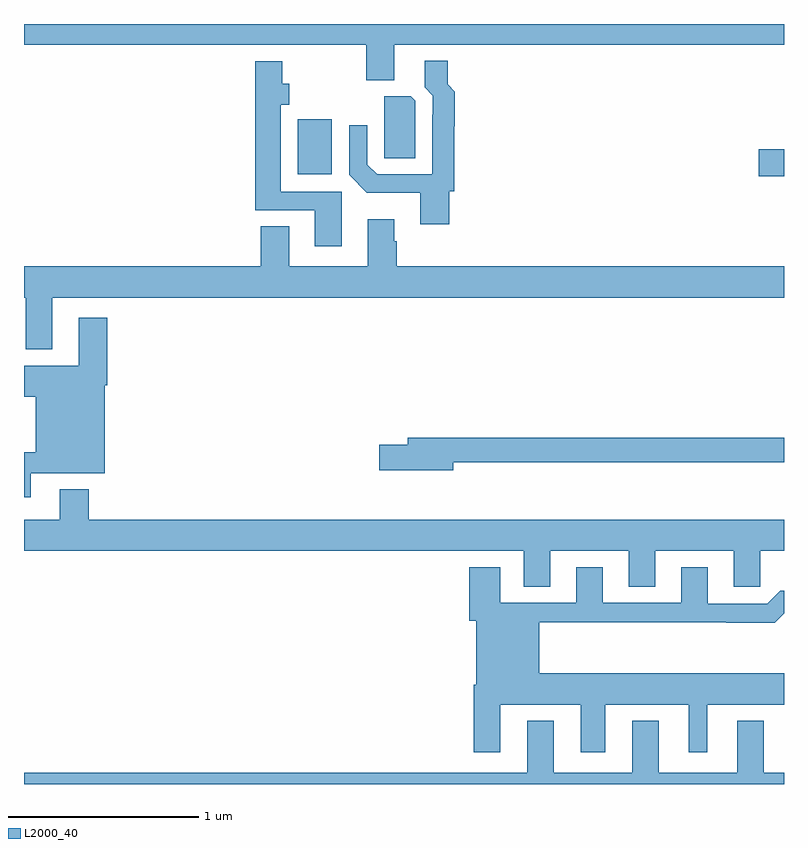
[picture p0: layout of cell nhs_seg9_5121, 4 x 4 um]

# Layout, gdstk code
import gdstk
lib = gdstk.Library(unit=1e-6, precision=1e-09)
def R(c, l, rs):  # rectangles x0, y0, x1, y1
    for r in rs: c.add(gdstk.rectangle(r[:2], r[2:], *l))
def P(c, l, *ps):  # polygons
    for p in ps: c.add(gdstk.Polygon(p, *l))
L2000_40 = (2000, 40)

nhs_seg9_5121 = lib.new_cell('nhs_seg9_5121')
R(nhs_seg9_5121, L2000_40, [(410.868,1223.698,411,1223.84), (408.44,1223.708,408.619,1223.998)])
P(nhs_seg9_5121, L2000_40, [(408.949,1224.392),(411,1224.392),(411,1224.5),(407,1224.5),(407,1224.392),(408.802,1224.392),(408.802,1224.205),(408.949,1224.205)],
  [(409.238,1223.619),(409.265,1223.619),(409.265,1223.962),(409.268,1223.962),(409.268,1224.144),(409.229,1224.183),(409.229,1224.307),(409.109,1224.307),(409.109,1224.166),(409.152,1224.123),(409.152,1224.023),(409.149,1224.023),(409.149,1223.709),(408.858,1223.709),(408.807,1223.76),(408.807,1223.968),(408.711,1223.968),(408.711,1223.706),(408.805,1223.612),(409.085,1223.612),(409.085,1223.445),(409.238,1223.445)],
  [(408.673,1223.616),(408.352,1223.616),(408.352,1224.075),(408.397,1224.075),(408.397,1224.185),(408.36,1224.185),(408.36,1224.304),(408.218,1224.304),(408.218,1223.52),(408.53,1223.52),(408.53,1223.331),(408.673,1223.331)],
  [(409.059,1224.096),(409.035,1224.12),(408.896,1224.12),(408.896,1223.905),(408.897,1223.905),(408.897,1223.794),(409.059,1223.794)],
  [(407.149,1223.06),(411,1223.06),(411,1223.224),(408.962,1223.224),(408.962,1223.357),(408.949,1223.357),(408.949,1223.473),(408.809,1223.473),(408.809,1223.224),(408.397,1223.224),(408.397,1223.435),(408.245,1223.435),(408.245,1223.224),(407,1223.224),(407,1223.06),(407.009,1223.06),(407.009,1222.787),(407.149,1222.787)],
  [(407.035,1222.136),(407.425,1222.136),(407.425,1222.598),(407.438,1222.598),(407.438,1222.954),(407.288,1222.954),(407.288,1222.702),(407,1222.702),(407,1222.538),(407.063,1222.538),(407.063,1222.246),(407,1222.246),(407,1222.008),(407.035,1222.008)],
  [(409.258,1222.194),(411,1222.194),(411,1222.322),(409.019,1222.322),(409.019,1222.286),(408.87,1222.286),(408.87,1222.151),(409.258,1222.151)],
  [(409.771,1221.728),(410.183,1221.728),(410.183,1221.538),(410.323,1221.538),(410.323,1221.728),(410.735,1221.728),(410.735,1221.538),(410.874,1221.538),(410.874,1221.728),(411,1221.728),(411,1221.892),(407.342,1221.892),(407.342,1222.051),(407.189,1222.051),(407.189,1221.892),(407,1221.892),(407,1221.728),(409.631,1221.728),(409.631,1221.538),(409.771,1221.538)],
  [(409.507,1220.918),(409.931,1220.918),(409.931,1220.667),(410.059,1220.667),(410.059,1220.918),(410.498,1220.918),(410.498,1220.667),(410.596,1220.667),(410.596,1220.918),(411,1220.918),(411,1221.082),(409.711,1221.082),(409.711,1221.352),(410.695,1221.352),(410.695,1221.35),(410.951,1221.35),(411,1221.399),(411,1221.517),(410.98,1221.517),(410.913,1221.45),(410.599,1221.45),(410.599,1221.64),(410.459,1221.64),(410.459,1221.453),(410.047,1221.453),(410.047,1221.64),(409.907,1221.64),(409.907,1221.453),(409.507,1221.453),(409.507,1221.64),(409.343,1221.64),(409.343,1221.36),(409.379,1221.36),(409.379,1221.022),(409.367,1221.022),(409.367,1220.667),(409.507,1220.667)],
  [(411,1220.56),(410.893,1220.56),(410.893,1220.833),(410.753,1220.833),(410.753,1220.56),(410.341,1220.56),(410.341,1220.833),(410.201,1220.833),(410.201,1220.56),(409.789,1220.56),(409.789,1220.833),(409.649,1220.833),(409.649,1220.56),(407,1220.56),(407,1220.5),(411,1220.5)])

lib.write_gds('nhs_seg9_5121.gds')
